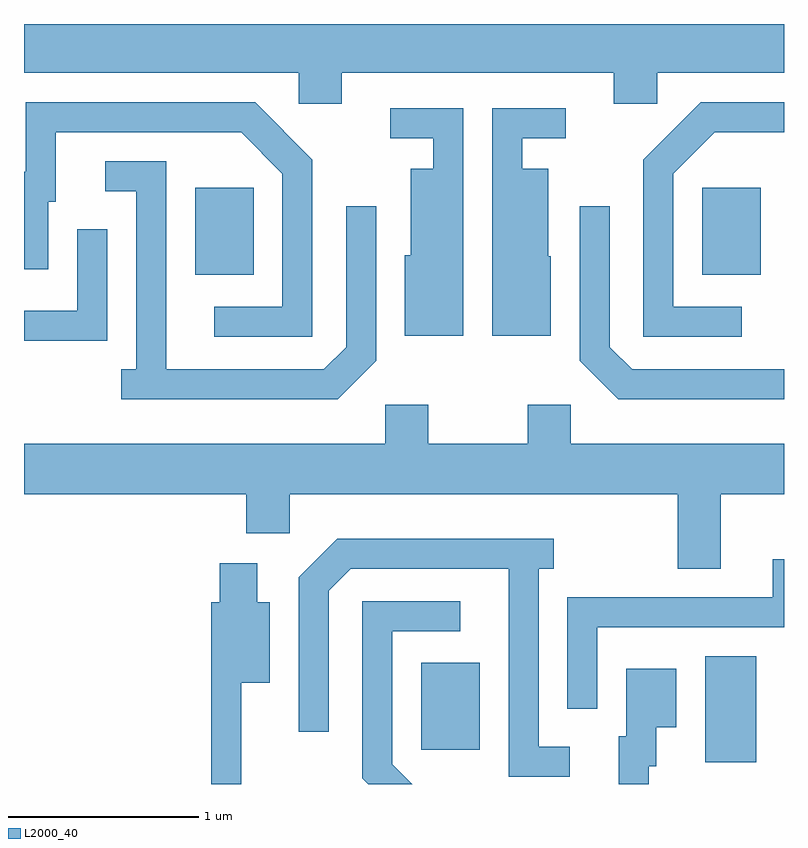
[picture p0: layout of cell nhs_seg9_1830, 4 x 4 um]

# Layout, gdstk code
import gdstk
lib = gdstk.Library(unit=1e-6, precision=1e-09)
def R(c, l, rs):  # rectangles x0, y0, x1, y1
    for r in rs: c.add(gdstk.rectangle(r[:2], r[2:], *l))
def P(c, l, *ps):  # polygons
    for p in ps: c.add(gdstk.Polygon(p, *l))
L2000_40 = (2000, 40)

nhs_seg9_1830 = lib.new_cell('nhs_seg9_1830')
R(nhs_seg9_1830, L2000_40, [(241.196,2072.546,241.464,2073.104), (239.701,2072.611,240.009,2073.069), (238.511,2075.111,238.819,2075.569), (241.181,2075.111,241.489,2075.569)])
P(nhs_seg9_1830, L2000_40, [(239.284,2076.176),(240.716,2076.176),(240.716,2076.011),(240.944,2076.011),(240.944,2076.176),(241.611,2076.176),(241.611,2076.432),(237.611,2076.432),(237.611,2076.176),(239.056,2076.176),(239.056,2076.011),(239.284,2076.011)],
  [(239.129,2075.717),(238.827,2076.019),(237.621,2076.019),(237.621,2075.654),(237.611,2075.654),(237.611,2075.141),(237.739,2075.141),(237.739,2075.496),(237.779,2075.496),(237.779,2075.861),(238.754,2075.861),(238.971,2075.644),(238.971,2074.944),(238.613,2074.944),(238.613,2074.786),(239.129,2074.786)],
  [(241.388,2074.944),(241.029,2074.944),(241.029,2075.644),(241.247,2075.861),(241.611,2075.861),(241.611,2076.019),(241.174,2076.019),(240.871,2075.717),(240.871,2074.786),(241.388,2074.786)],
  [(239.924,2075.989),(239.538,2075.989),(239.538,2075.831),(239.766,2075.831),(239.766,2075.669),(239.646,2075.669),(239.646,2075.214),(239.616,2075.214),(239.616,2074.791),(239.924,2074.791)],
  [(240.384,2075.21),(240.369,2075.21),(240.369,2075.669),(240.234,2075.669),(240.234,2075.831),(240.463,2075.831),(240.463,2075.989),(240.076,2075.989),(240.076,2074.791),(240.384,2074.791)],
  [(239.464,2074.659),(239.464,2075.472),(239.306,2075.472),(239.306,2074.731),(239.189,2074.614),(238.359,2074.614),(238.359,2075.709),(238.038,2075.709),(238.038,2075.551),(238.201,2075.551),(238.201,2074.614),(238.123,2074.614),(238.123,2074.456),(239.262,2074.456)],
  [(241.611,2074.614),(240.812,2074.614),(240.694,2074.731),(240.694,2075.472),(240.536,2075.472),(240.536,2074.659),(240.739,2074.456),(241.611,2074.456)],
  [(238.049,2075.353),(237.891,2075.353),(237.891,2074.924),(237.611,2074.924),(237.611,2074.766),(238.049,2074.766)],
  [(241.051,2073.566),(241.279,2073.566),(241.279,2073.956),(241.611,2073.956),(241.611,2074.224),(240.489,2074.224),(240.489,2074.429),(240.261,2074.429),(240.261,2074.224),(239.739,2074.224),(239.739,2074.429),(239.511,2074.429),(239.511,2074.224),(237.611,2074.224),(237.611,2073.956),(238.781,2073.956),(238.781,2073.751),(239.009,2073.751),(239.009,2073.956),(241.051,2073.956)],
  [(240.483,2072.629),(240.319,2072.629),(240.319,2073.566),(240.398,2073.566),(240.398,2073.724),(239.259,2073.724),(239.056,2073.521),(239.056,2072.708),(239.214,2072.708),(239.214,2073.449),(239.332,2073.566),(240.161,2073.566),(240.161,2072.471),(240.483,2072.471)],
  [(240.629,2073.256),(241.611,2073.256),(241.611,2073.614),(241.551,2073.614),(241.551,2073.414),(240.471,2073.414),(240.471,2072.827),(240.629,2072.827)],
  [(238.754,2072.966),(238.904,2072.966),(238.904,2073.389),(238.839,2073.389),(238.839,2073.594),(238.641,2073.594),(238.641,2073.389),(238.596,2073.389),(238.596,2072.432),(238.754,2072.432)],
  [(239.549,2072.537),(239.549,2073.236),(239.908,2073.236),(239.908,2073.394),(239.391,2073.394),(239.391,2072.463),(239.422,2072.432),(239.654,2072.432)],
  [(240.899,2072.526),(240.939,2072.526),(240.939,2072.731),(241.044,2072.731),(241.044,2073.039),(240.781,2073.039),(240.781,2072.684),(240.741,2072.684),(240.741,2072.432),(240.899,2072.432)])

lib.write_gds('nhs_seg9_1830.gds')
